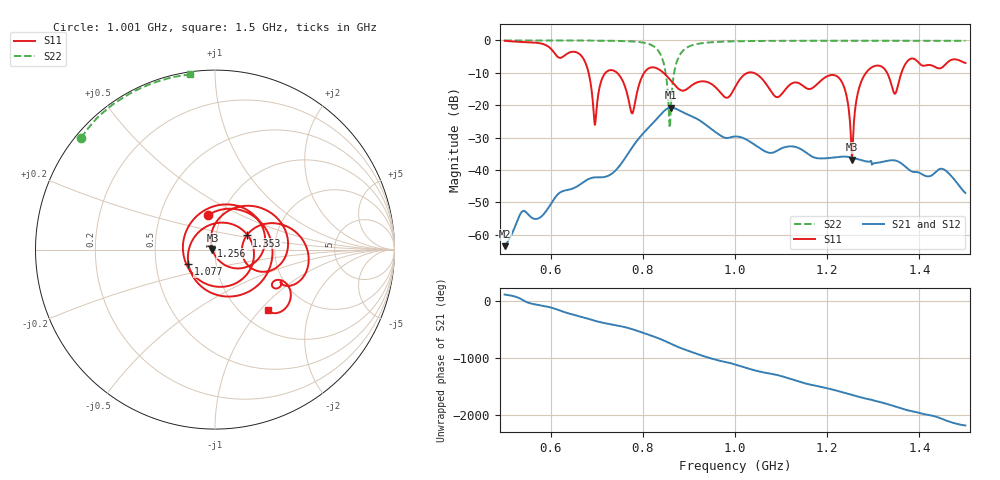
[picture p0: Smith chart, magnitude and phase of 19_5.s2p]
! TOUCHSTONE file generated by CST MICROWAVE STUDIO
! Date and time: Mon Nov 30 08:35:03 2020
! Project name: Scenario_1_Planar_Body_Tissue_Out_of_Line.cst
! Parameters = {dy1=-34.6; L_HA=400; Ltissue=700; MT=2.54; Rad_Dielectric=30; Rad_Lower=7.3; Rad_Upper=30; Wtissue=700; a_HA=580; a_WG=246; b_HA=500; b_WG=121; c_HA=0; c_WG=187; d_feed=85; dx1=866; h_feed=15; h_lower=18; h_upper=40; hfat=3; hgap=25; hmuscle=50; hskin=1.5}
! Header version: 2018
! Port assignment regex: !\s*Touchstone port\s*([0-9]+)\s*=\s*(CST MWS port|CST DS port)\s*([0-9]+|Zmin|Zmax)\s*\(\"(.*)\"\)(\s*mode\s*([0-9]+))?.*
! Touchstone port assignment:
! Touchstone port 1 = CST MWS port 1 ("")
! Touchstone port 2 = CST MWS port 2 ("")
# GHz S DB R 50
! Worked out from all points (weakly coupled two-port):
!   1003 points, 500 MHz to 1.5 GHz, reference 50 ohm
!   highest |S21| = -20.73 dB at 861 MHz (marker M1); lowest = -63.5 dB at 500 MHz (marker M2)
!   lowest |S11| = -36.8 dB at 1.254 GHz (marker M3), VSWR 1.03, Z = 48.6 - j0.282 ohm
!   |S11| at or under -10 dB: 744 MHz to 802.9 MHz (58.91 MHz wide, 7.62 % of centre); 844.8 MHz to 1.028 GHz (182.7 MHz wide, 19.5 % of centre); 1.04 GHz to 1.284 GHz (243.8 MHz wide, 21 % of centre) (the widest 3 of 5)
!   |S22| runs from -27.0 to 0.0 dB; largest |S21 - S12| = 0.00027
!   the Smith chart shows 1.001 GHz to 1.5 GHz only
!   S11 on the Smith chart (normalised r, x): 1.001 GHz: 0.86, +0.34; 1.077 GHz: 0.73, -0.12; 1.256 GHz: 0.96, +0.04; 1.353 GHz: 1.41, +0.23; 1.5 GHz: 1.32, -1.11
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0.5  -0.10 -122.1  -63.53 107.2  -63.53 107.2  -0.01 151.1
0.583  -1.09 -168.1  -53.93 -88.4  -53.93 -88.4  -0.02 145.4
0.667  -4.83 121.7  -44.18 77.3  -44.18 77.3  -0.04 138.4
0.696  -26.09 -41.1  -42.29 7.6  -42.29 7.6  -0.06 135.3
0.723  -9.50 169.0  -41.90 -42.5  -41.90 -42.5  -0.10 131.9
0.777  -22.54 -36.9  -33.00 -139.0  -33.00 -139.0  -0.32 121.3
0.806  -9.42 161.1  -27.88 142.7  -27.88 142.7  -0.82 109.8
0.834  -8.86 70.6  -23.62 61.6  -23.62 61.6  -3.27 84.3
0.861  -12.43 -19.8  -20.73 -35.6  -20.73 -35.6  -20.12 -117.9
0.889  -15.47 -141.3  -22.33 -129.3  -22.33 -129.3  -2.92 178.1
1  -14.47 106.3  -29.66 -36.1  -29.66 -36.1  -0.27 140.3
1.001  -14.21 102.0  -29.66 -38.6  -29.66 -38.6  -0.27 140.1
1.032  -9.86 -5.8  -31.21 -115.5  -31.21 -115.5  -0.20 136.4
1.077  -15.47 -151.5  -34.73 162.2  -34.73 162.2  -0.14 131.8
1.167  -14.78 164.8  -35.84 -34.9  -35.84 -34.9  -0.10 124.2
1.227  -11.79 -7.2  -35.92 -147.9  -35.92 -147.9  -0.09 119.6
1.254  -36.78 -168.4  -36.17 150.2  -36.17 150.2  -0.08 117.6
1.256  -30.26 133.2  -36.25 145.7  -36.25 145.7  -0.08 117.4
1.282  -10.47 54.6  -37.29 90.6  -37.28 90.6  -0.08 115.5
1.334  -11.25 -26.3  -37.09 -16.6  -37.08 -16.6  -0.09 111.5
1.353  -14.24 24.1  -37.31 -66.2  -37.31 -66.2  -0.09 110.1
1.5  -6.96 -48.5  -47.10 -23.1  -47.10 -23.1  -0.13 98.0
